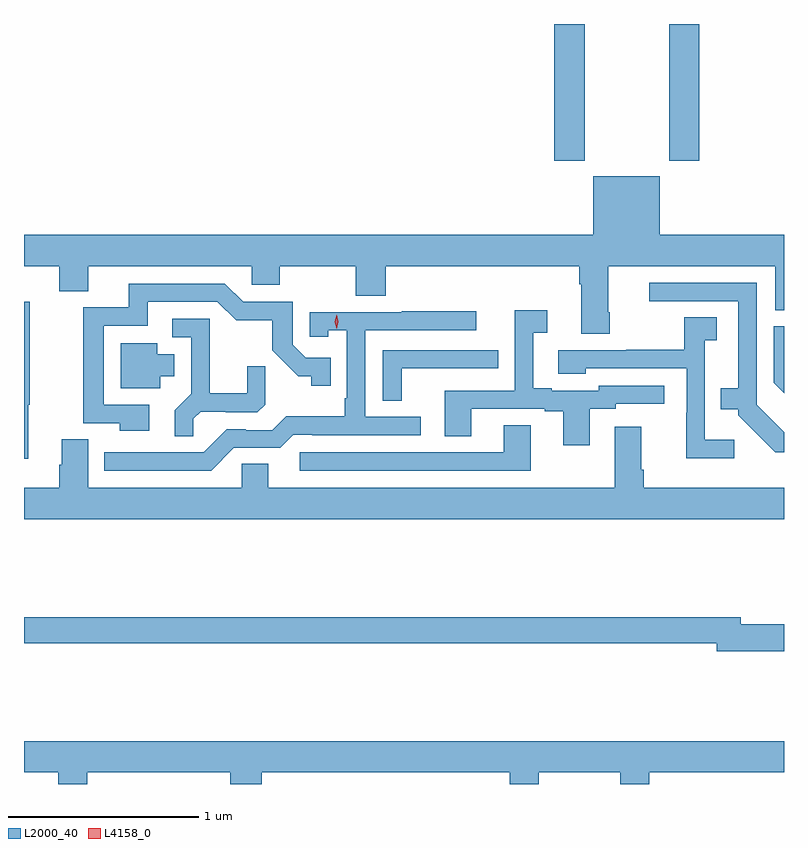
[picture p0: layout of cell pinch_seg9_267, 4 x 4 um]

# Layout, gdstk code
import gdstk
lib = gdstk.Library(unit=1e-6, precision=1e-09)
def R(c, l, rs):  # rectangles x0, y0, x1, y1
    for r in rs: c.add(gdstk.rectangle(r[:2], r[2:], *l))
def P(c, l, *ps):  # polygons
    for p in ps: c.add(gdstk.Polygon(p, *l))
L2000_40 = (2000, 40)
L4158_0 = (4158, 0)

pinch_seg9_267 = lib.new_cell('pinch_seg9_267')
R(pinch_seg9_267, L2000_40, [(415.127,1182.321,415.287,1183.042), (415.732,1182.321,415.892,1183.042)])
P(pinch_seg9_267, L2000_40, [(416.337,1180.893),(416.193,1181.037),(416.193,1181.679),(415.629,1181.679),(415.629,1181.583),(416.096,1181.583),(416.096,1181.125),(416.005,1181.125),(416.005,1181.015),(416.097,1181.015),(416.097,1180.983),(416.292,1180.788),(416.337,1180.788)],
  [(412.996,1181.037),(412.758,1181.037),(412.758,1181.454),(412.987,1181.454),(412.987,1181.58),(413.355,1181.58),(413.454,1181.482),(413.643,1181.482),(413.643,1181.326),(413.78,1181.189),(413.85,1181.189),(413.85,1181.139),(413.951,1181.139),(413.951,1181.286),(413.82,1181.286),(413.751,1181.355),(413.751,1181.58),(413.49,1181.58),(413.394,1181.676),(412.889,1181.676),(412.889,1181.55),(412.65,1181.55),(412.65,1180.941),(412.84,1180.941),(412.84,1180.901),(412.996,1180.901)],
  [(412.36,1181.037),(412.368,1181.037),(412.368,1181.581),(412.337,1181.581),(412.337,1180.755),(412.36,1180.755)],
  [(415.315,1181.016),(415.452,1181.016),(415.452,1181.043),(415.708,1181.043),(415.708,1181.139),(415.362,1181.139),(415.362,1181.112),(415.114,1181.112),(415.114,1181.125),(415.018,1181.125),(415.018,1181.416),(415.09,1181.416),(415.09,1181.536),(414.921,1181.536),(414.921,1181.112),(414.551,1181.112),(414.551,1180.873),(414.691,1180.873),(414.691,1181.016),(415.079,1181.016),(415.079,1181.004),(415.175,1181.004),(415.175,1180.824),(415.315,1180.824)],
  [(413.442,1180.812),(413.685,1180.812),(413.754,1180.881),(413.854,1180.881),(413.854,1180.878),(414.424,1180.878),(414.424,1180.974),(414.132,1180.974),(414.132,1181.43),(414.718,1181.43),(414.718,1181.529),(414.325,1181.529),(414.325,1181.526),(413.841,1181.526),(413.841,1181.397),(413.937,1181.397),(413.937,1181.429),(414.036,1181.429),(414.036,1181.071),(414.024,1181.071),(414.024,1180.978),(413.716,1180.978),(413.643,1180.905),(413.504,1180.905),(413.504,1180.908),(413.403,1180.908),(413.283,1180.788),(412.76,1180.788),(412.76,1180.692),(413.322,1180.692)],
  [(416.291,1181.768),(416.291,1181.536),(416.337,1181.536),(416.337,1181.932),(415.684,1181.932),(415.684,1182.241),(415.334,1182.241),(415.334,1181.932),(412.337,1181.932),(412.337,1181.768),(412.523,1181.768),(412.523,1181.635),(412.675,1181.635),(412.675,1181.768),(413.535,1181.768),(413.535,1181.67),(413.682,1181.67),(413.682,1181.768),(414.082,1181.768),(414.082,1181.611),(414.242,1181.611),(414.242,1181.768),(415.259,1181.768),(415.259,1181.672),(415.271,1181.672),(415.271,1181.412),(415.419,1181.412),(415.419,1181.524),(415.411,1181.524),(415.411,1181.768)],
  [(416.074,1180.855),(415.92,1180.855),(415.92,1181.377),(415.984,1181.377),(415.984,1181.498),(415.812,1181.498),(415.812,1181.328),(415.507,1181.328),(415.507,1181.325),(415.149,1181.325),(415.149,1181.201),(415.293,1181.201),(415.293,1181.229),(415.824,1181.229),(415.824,1180.997),(415.822,1180.997),(415.822,1180.757),(416.074,1180.757)],
  [(413.229,1180.964),(413.266,1181.001),(413.4,1181.001),(413.4,1180.998),(413.565,1180.998),(413.606,1181.039),(413.606,1181.241),(413.512,1181.241),(413.512,1181.098),(413.315,1181.098),(413.315,1181.49),(413.118,1181.49),(413.118,1181.394),(413.217,1181.394),(413.217,1181.095),(413.131,1181.009),(413.131,1180.873),(413.229,1180.873)],
  [(416.337,1181.451),(416.283,1181.451),(416.283,1181.153),(416.337,1181.099)],
  [(413.053,1181.189),(413.128,1181.189),(413.128,1181.305),(413.038,1181.305),(413.038,1181.362),(412.847,1181.362),(412.847,1181.126),(413.053,1181.126)],
  [(414.324,1181.229),(414.719,1181.229),(414.719,1181.23),(414.832,1181.23),(414.832,1181.325),(414.225,1181.325),(414.225,1181.059),(414.324,1181.059)],
  [(415.003,1180.931),(414.863,1180.931),(414.863,1180.788),(413.787,1180.788),(413.787,1180.692),(415.003,1180.692)],
  [(416.337,1180.6),(415.598,1180.6),(415.598,1180.696),(415.585,1180.696),(415.585,1180.921),(415.445,1180.921),(415.445,1180.6),(413.623,1180.6),(413.623,1180.727),(413.484,1180.727),(413.484,1180.6),(412.675,1180.6),(412.675,1180.856),(412.535,1180.856),(412.535,1180.722),(412.523,1180.722),(412.523,1180.6),(412.337,1180.6),(412.337,1180.436),(416.337,1180.436)],
  [(416.337,1179.884),(416.11,1179.884),(416.11,1179.92),(412.337,1179.92),(412.337,1179.784),(415.982,1179.784),(415.982,1179.742),(416.337,1179.742)],
  [(412.67,1179.104),(413.423,1179.104),(413.423,1179.042),(413.588,1179.042),(413.588,1179.104),(414.893,1179.104),(414.893,1179.042),(415.045,1179.042),(415.045,1179.104),(415.475,1179.104),(415.475,1179.042),(415.628,1179.042),(415.628,1179.104),(416.337,1179.104),(416.337,1179.268),(412.337,1179.268),(412.337,1179.104),(412.517,1179.104),(412.517,1179.042),(412.67,1179.042)])
P(pinch_seg9_267, L4158_0, [(413.982,1181.439),(413.982,1181.439),(413.972,1181.475),(413.982,1181.511),(413.982,1181.511),(413.982,1181.511),(413.992,1181.475),(413.982,1181.439)])

lib.write_gds('pinch_seg9_267.gds')
